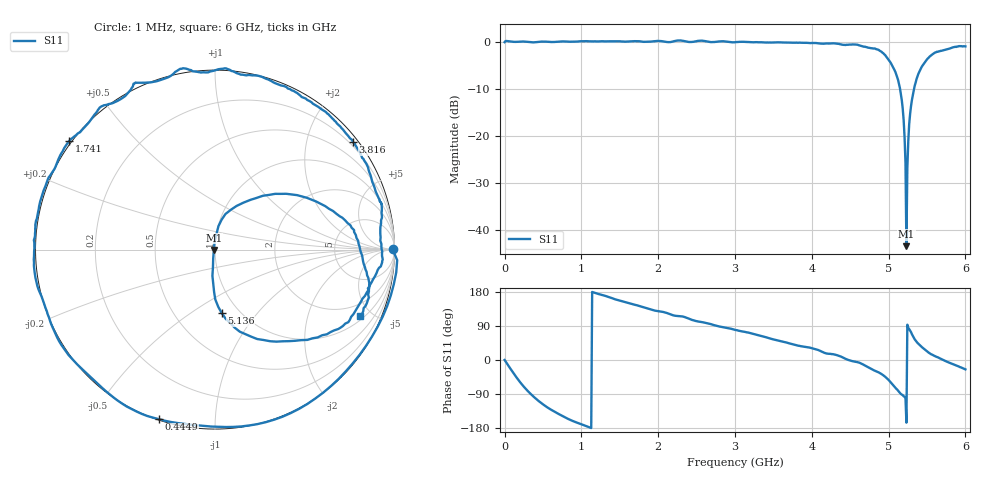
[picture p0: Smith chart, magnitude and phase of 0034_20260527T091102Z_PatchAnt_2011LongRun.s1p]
# Hz S RI R 50
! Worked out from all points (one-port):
!   501 points, 1 MHz to 6 GHz, reference 50 ohm
!   lowest |S11| = -43.4 dB at 5.232 GHz (marker M1), VSWR 1.01, Z = 49.4 - j0.168 ohm
!   |S11| at or under -10 dB: 5.149 GHz to 5.332 GHz (182.9 MHz wide, 3.49 % of centre)
!   S11 on the Smith chart (normalised r, x): 1 MHz: open; 444.9 MHz: 0.00, -0.72; 1.741 GHz: -0.01, +0.33; 3.816 GHz: 0.12, +2.90; 5.136 GHz: 0.83, -0.67; 6 GHz: 1.18, -4.26
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1000000  0.9896 0.0018
8.4986e7  0.9058 -0.4306
2.16964e8  0.4682 -0.8873
3.0095e8  0.1468 -0.9852
4.44926e8  -0.3139 -0.9445
7.56874e8  -0.856 -0.531
1.068822e9  -1.009 -0.09
1.50075e9  -0.9264 0.4024
1.74071e9  -0.8119 0.6052
2.256624e9  -0.4538 0.9245
3.0005e9  0.1735 0.9707
3.756374e9  0.7366 0.6397
3.816364e9  0.7675 0.5995
4.308282e9  0.9296 0.2293
4.50025e9  0.9304 -0.021
4.872188e9  0.6866 -0.4425
5.028162e9  0.3077 -0.5106
5.136144e9  0.0367 -0.3523
5.184136e9  -0.00958 -0.1943
5.196134e9  -0.0144 -0.1464
5.208132e9  -0.0114 -0.0959
5.232128e9  -0.00652 -0.0017
5.256124e9  0.00785 0.0866
5.268122e9  0.0194 0.1313
5.292118e9  0.0582 0.1982
5.412098e9  0.3964 0.311
5.628062e9  0.7751 0.1084
6e9  0.8095 -0.3726
